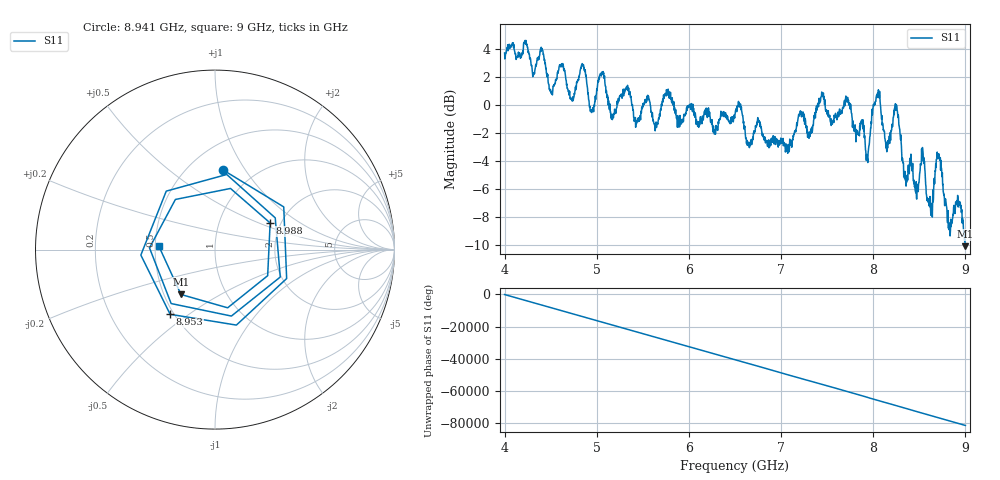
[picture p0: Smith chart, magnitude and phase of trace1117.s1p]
! Created with skrf 1.8.0 (http://scikit-rf.org).
# Hz S RI R 50.0
!freq ReS11 ImS11
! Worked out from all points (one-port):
!   1601 points, 4 GHz to 9 GHz, reference 50 ohm
!   lowest |S11| = -10.1 dB at 8.997 GHz (marker M1), VSWR 1.91, Z = 30.5 - j16.9 ohm
!   |S11| at or under -10 dB: 8.996582 GHz to end of sweep
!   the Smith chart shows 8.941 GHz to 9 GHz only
!   S11 on the Smith chart (normalised r, x): 8.941 GHz: 0.72, +0.80; 8.953 GHz: 0.48, -0.43; 8.988 GHz: 1.76, +0.59; 9 GHz: 0.52, +0.02
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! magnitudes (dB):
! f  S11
! 4 GHz  3.7
! 4.403 GHz  4.1
! 4.506 GHz  1.0
! 4.625 GHz  2.8
! 4.734 GHz  0.3
! 4.853 GHz  2.8
! 4.944 GHz  -0.5
! 5.05 GHz  2.1
! 5.159 GHz  -1.0
! 5.25 GHz  0.7
! 5.875 GHz  -1.6
! 6.5 GHz  -0.7
! 7.125 GHz  -2.4
! 7.75 GHz  -0.3
! 7.934 GHz  -3.8
! 8.047 GHz  0.9
! 8.153 GHz  -2.8
! 8.25 GHz  0.0
! 8.375 GHz  -5.3
! 8.538 GHz  -3.3
! 8.619 GHz  -7.3
! 8.709 GHz  -3.7
! 8.828 GHz  -8.5
! 8.941 GHz  -7.0
! 8.953 GHz  -7.2
! 8.988 GHz  -9.3
! 8.997 GHz  -10.1
! 9 GHz  -10.1
